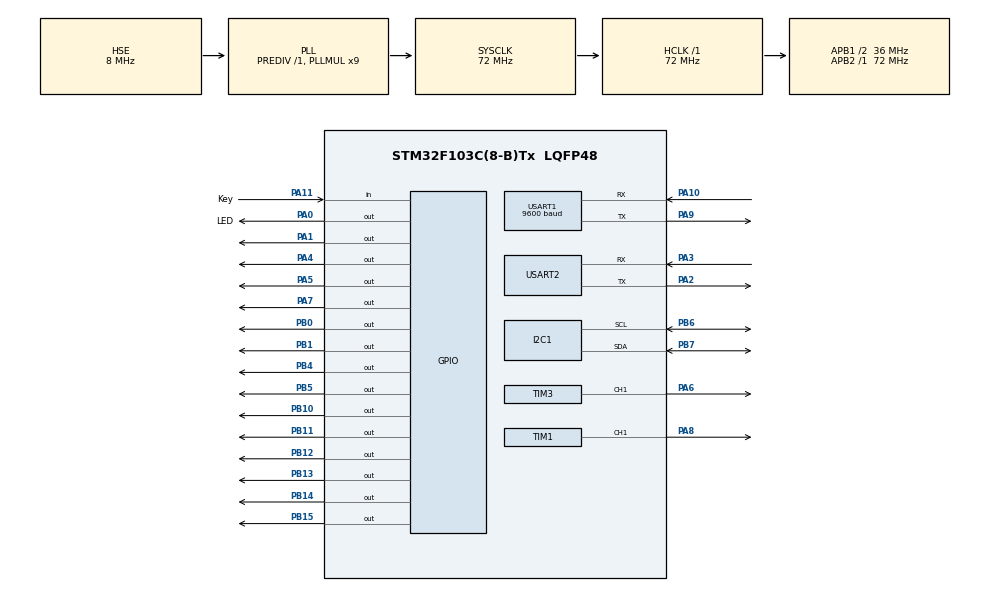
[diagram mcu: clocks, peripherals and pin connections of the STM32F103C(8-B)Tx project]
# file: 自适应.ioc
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Mcu.Family=STM32F1
Mcu.Name=STM32F103C(8-B)Tx
Mcu.Package=LQFP48
NVIC.PriorityGroup=NVIC_PRIORITYGROUP_4
NVIC.USART1_IRQn=true\:0\:0\:false\:false\:true\:true\:true\:true
PA0-WKUP.GPIO_Label=LED
PA0-WKUP.Signal=GPIO_Output
PA1.Signal=GPIO_Output
PA10.Mode=Asynchronous
PA10.Signal=USART1_RX
PA11.GPIO_Label=Key
PA11.GPIO_PuPd=GPIO_PULLDOWN
PA11.Signal=GPIO_Input
PA13.Mode=Serial_Wire
PA13.Signal=SYS_JTMS-SWDIO
PA14.Mode=Serial_Wire
PA14.Signal=SYS_JTCK-SWCLK
PA2.Mode=Asynchronous
PA2.Signal=USART2_TX
PA3.Mode=Asynchronous
PA3.Signal=USART2_RX
PA4.Signal=GPIO_Output
PA5.Signal=GPIO_Output
PA6.Signal=S_TIM3_CH1
PA7.Signal=GPIO_Output
PA8.Signal=S_TIM1_CH1
PA9.Mode=Asynchronous
PA9.Signal=USART1_TX
PB0.Signal=GPIO_Output
PB1.Signal=GPIO_Output
PB10.Signal=GPIO_Output
PB11.Signal=GPIO_Output
PB12.Signal=GPIO_Output
PB13.Signal=GPIO_Output
PB14.Signal=GPIO_Output
PB15.Signal=GPIO_Output
PB4.Signal=GPIO_Output
PB5.Signal=GPIO_Output
PB6.Mode=I2C
PB6.Signal=I2C1_SCL
PB7.Mode=I2C
PB7.Signal=I2C1_SDA
PD0-OSC_IN.Mode=HSE-External-Oscillator
PD0-OSC_IN.Signal=RCC_OSC_IN
PD1-OSC_OUT.Mode=HSE-External-Oscillator
PD1-OSC_OUT.Signal=RCC_OSC_OUT
ProjectManager.HeapSize=0x200
ProjectManager.StackSize=0x400
ProjectManager.TargetToolchain=MDK-ARM V5.32
RCC.AHBFreq_Value=72000000
RCC.APB1CLKDivider=RCC_HCLK_DIV2
RCC.APB1Freq_Value=36000000
RCC.APB1TimFreq_Value=72000000
RCC.APB2Freq_Value=72000000
RCC.APB2TimFreq_Value=72000000
RCC.HCLKFreq_Value=72000000
RCC.PLLMUL=RCC_PLL_MUL9
RCC.PLLSourceVirtual=RCC_PLLSOURCE_HSE
RCC.SYSCLKFreq_VALUE=72000000
RCC.SYSCLKSource=RCC_SYSCLKSOURCE_PLLCLK
RCC.USBFreq_Value=72000000
SH.S_TIM1_CH1.0=TIM1_CH1,PWM Generation1 CH1
SH.S_TIM3_CH1.0=TIM3_CH1,PWM Generation1 CH1
TIM1.Channel-PWM\ Generation1\ CH1=TIM_CHANNEL_1
TIM1.Period=999
TIM1.Prescaler=71
TIM3.Channel-PWM\ Generation1\ CH1=TIM_CHANNEL_1
TIM3.Period=999
TIM3.Prescaler=71
USART1.BaudRate=9600
USART1.VirtualMode=VM_ASYNC
USART2.VirtualMode=VM_ASYNC
board=custom

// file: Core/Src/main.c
/* USER CODE BEGIN Header */
/**
  ******************************************************************************
  * @file           : main.c
  * @brief          : Main program body
  ******************************************************************************
  */
/* USER CODE END Header */
#include "main.h"

/* USER CODE BEGIN Includes */
#include "app.h"
/* USER CODE END Includes */

I2C_HandleTypeDef hi2c1;

TIM_HandleTypeDef htim1;
TIM_HandleTypeDef htim3;

UART_HandleTypeDef huart1;
UART_HandleTypeDef huart2;

void SystemClock_Config(void);
static void MX_GPIO_Init(void);
static void MX_TIM3_Init(void);
static void MX_USART1_UART_Init(void);
static void MX_I2C1_Init(void);
static void MX_USART2_UART_Init(void);
static void MX_TIM1_Init(void);
/* USER CODE BEGIN PFP */
static void Board_I2C1_Reinit(void);
/* USER CODE END PFP */

/* USER CODE BEGIN 0 */
static void Board_I2C1_Reinit(void)
{
  HAL_I2C_DeInit(&hi2c1);
  MX_I2C1_Init();
}
/* USER CODE END 0 */

int main(void)
{

  /* MCU Configuration--------------------------------------------------------*/

  /* Reset of all peripherals, Initializes the Flash interface and the Systick. */
  HAL_Init();

  /* Configure the system clock */
  SystemClock_Config();

  /* Initialize all configured peripherals */
  MX_GPIO_Init();
  MX_TIM3_Init();
  MX_USART1_UART_Init();
  MX_I2C1_Init();
  MX_USART2_UART_Init();
  MX_TIM1_Init();
  /* USER CODE BEGIN 2 */
  AppHardware hardware;

  hardware.oled_i2c = &hi2c1;
  hardware.sensor_uart = &huart1;
  hardware.console_uart = &huart2;
  hardware.motor1_pwm = &htim3;
  hardware.motor2_pwm = &htim1;
  hardware.i2c1_reinit = Board_I2C1_Reinit;
  App_Init(&hardware);
/* USER CODE END 2 */

  /* Infinite loop */
  while (1)
  {

    /* USER CODE BEGIN 3 */
    App_RunOnce();
  }

  /* USER CODE END 3 */
}

void SystemClock_Config(void)
{
  RCC_OscInitTypeDef RCC_OscInitStruct = {0};
  RCC_ClkInitTypeDef RCC_ClkInitStruct = {0};

  /** Initializes the RCC Oscillators according to the specified parameters
  * in the RCC_OscInitTypeDef structure.
  */
  RCC_OscInitStruct.OscillatorType = RCC_OSCILLATORTYPE_HSE;
  RCC_OscInitStruct.HSEState = RCC_HSE_ON;
  RCC_OscInitStruct.HSEPredivValue = RCC_HSE_PREDIV_DIV1;
  RCC_OscInitStruct.HSIState = RCC_HSI_ON;
  RCC_OscInitStruct.PLL.PLLState = RCC_PLL_ON;
  RCC_OscInitStruct.PLL.PLLSource = RCC_PLLSOURCE_HSE;
  RCC_OscInitStruct.PLL.PLLMUL = RCC_PLL_MUL9;
  if (HAL_RCC_OscConfig(&RCC_OscInitStruct) != HAL_OK)
  {
    Error_Handler();
  }

  /** Initializes the CPU, AHB and APB buses clocks
  */
  RCC_ClkInitStruct.ClockType = RCC_CLOCKTYPE_HCLK|RCC_CLOCKTYPE_SYSCLK
                              |RCC_CLOCKTYPE_PCLK1|RCC_CLOCKTYPE_PCLK2;
  RCC_ClkInitStruct.SYSCLKSource = RCC_SYSCLKSOURCE_PLLCLK;
  RCC_ClkInitStruct.AHBCLKDivider = RCC_SYSCLK_DIV1;
  RCC_ClkInitStruct.APB1CLKDivider = RCC_HCLK_DIV2;
  RCC_ClkInitStruct.APB2CLKDivider = RCC_HCLK_DIV1;

  if (HAL_RCC_ClockConfig(&RCC_ClkInitStruct, FLASH_LATENCY_2) != HAL_OK)
  {
    Error_Handler();
  }
}

static void MX_I2C1_Init(void)
{

  hi2c1.Instance = I2C1;
  hi2c1.Init.ClockSpeed = 100000;
  hi2c1.Init.DutyCycle = I2C_DUTYCYCLE_2;
  hi2c1.Init.OwnAddress1 = 0;
  hi2c1.Init.AddressingMode = I2C_ADDRESSINGMODE_7BIT;
  hi2c1.Init.DualAddressMode = I2C_DUALADDRESS_DISABLE;
  hi2c1.Init.OwnAddress2 = 0;
  hi2c1.Init.GeneralCallMode = I2C_GENERALCALL_DISABLE;
  hi2c1.Init.NoStretchMode = I2C_NOSTRETCH_DISABLE;
  if (HAL_I2C_Init(&hi2c1) != HAL_OK)
  {
    Error_Handler();
  }

}

static void MX_TIM1_Init(void)
{

  TIM_MasterConfigTypeDef sMasterConfig = {0};
  TIM_OC_InitTypeDef sConfigOC = {0};
  TIM_BreakDeadTimeConfigTypeDef sBreakDeadTimeConfig = {0};

  htim1.Instance = TIM1;
  htim1.Init.Prescaler = 71;
  htim1.Init.CounterMode = TIM_COUNTERMODE_UP;
  htim1.Init.Period = 999;
  htim1.Init.ClockDivision = TIM_CLOCKDIVISION_DIV1;
  htim1.Init.RepetitionCounter = 0;
  htim1.Init.AutoReloadPreload = TIM_AUTORELOAD_PRELOAD_DISABLE;
  if (HAL_TIM_PWM_Init(&htim1) != HAL_OK)
  {
    Error_Handler();
  }
  sMasterConfig.MasterOutputTrigger = TIM_TRGO_RESET;
  sMasterConfig.MasterSlaveMode = TIM_MASTERSLAVEMODE_DISABLE;
  if (HAL_TIMEx_MasterConfigSynchronization(&htim1, &sMasterConfig) != HAL_OK)
  {
    Error_Handler();
  }
  sConfigOC.OCMode = TIM_OCMODE_PWM1;
  sConfigOC.Pulse = 0;
  sConfigOC.OCPolarity = TIM_OCPOLARITY_HIGH;
  sConfigOC.OCNPolarity = TIM_OCNPOLARITY_HIGH;
  sConfigOC.OCFastMode = TIM_OCFAST_DISABLE;
  sConfigOC.OCIdleState = TIM_OCIDLESTATE_RESET;
  sConfigOC.OCNIdleState = TIM_OCNIDLESTATE_RESET;
  if (HAL_TIM_PWM_ConfigChannel(&htim1, &sConfigOC, TIM_CHANNEL_1) != HAL_OK)
  {
    Error_Handler();
  }
  sBreakDeadTimeConfig.OffStateRunMode = TIM_OSSR_DISABLE;
  sBreakDeadTimeConfig.OffStateIDLEMode = TIM_OSSI_DISABLE;
  sBreakDeadTimeConfig.LockLevel = TIM_LOCKLEVEL_OFF;
  sBreakDeadTimeConfig.DeadTime = 0;
  sBreakDeadTimeConfig.BreakState = TIM_BREAK_DISABLE;
  sBreakDeadTimeConfig.BreakPolarity = TIM_BREAKPOLARITY_HIGH;
  sBreakDeadTimeConfig.AutomaticOutput = TIM_AUTOMATICOUTPUT_DISABLE;
  if (HAL_TIMEx_ConfigBreakDeadTime(&htim1, &sBreakDeadTimeConfig) != HAL_OK)
  {
    Error_Handler();
  }
  HAL_TIM_MspPostInit(&htim1);

}

static void MX_TIM3_Init(void)
{

  TIM_MasterConfigTypeDef sMasterConfig = {0};
  TIM_OC_InitTypeDef sConfigOC = {0};

  htim3.Instance = TIM3;
  htim3.Init.Prescaler = 71;
  htim3.Init.CounterMode = TIM_COUNTERMODE_UP;
  htim3.Init.Period = 999;
  htim3.Init.ClockDivision = TIM_CLOCKDIVISION_DIV1;
  htim3.Init.AutoReloadPreload = TIM_AUTORELOAD_PRELOAD_DISABLE;
  if (HAL_TIM_PWM_Init(&htim3) != HAL_OK)
  {
    Error_Handler();
  }
  sMasterConfig.MasterOutputTrigger = TIM_TRGO_RESET;
  sMasterConfig.MasterSlaveMode = TIM_MASTERSLAVEMODE_DISABLE;
  if (HAL_TIMEx_MasterConfigSynchronization(&htim3, &sMasterConfig) != HAL_OK)
  {
    Error_Handler();
  }
  sConfigOC.OCMode = TIM_OCMODE_PWM1;
  sConfigOC.Pulse = 0;
  sConfigOC.OCPolarity = TIM_OCPOLARITY_HIGH;
  sConfigOC.OCFastMode = TIM_OCFAST_DISABLE;
  if (HAL_TIM_PWM_ConfigChannel(&htim3, &sConfigOC, TIM_CHANNEL_1) != HAL_OK)
  {
    Error_Handler();
  }
  HAL_TIM_MspPostInit(&htim3);

}

static void MX_USART1_UART_Init(void)
{

  huart1.Instance = USART1;
  huart1.Init.BaudRate = 9600;
  huart1.Init.WordLength = UART_WORDLENGTH_8B;
  huart1.Init.StopBits = UART_STOPBITS_1;
  huart1.Init.Parity = UART_PARITY_NONE;
  huart1.Init.Mode = UART_MODE_TX_RX;
  huart1.Init.HwFlowCtl = UART_HWCONTROL_NONE;
  huart1.Init.OverSampling = UART_OVERSAMPLING_16;
  if (HAL_UART_Init(&huart1) != HAL_OK)
  {
    Error_Handler();
  }

}

static void MX_USART2_UART_Init(void)
{

  huart2.Instance = USART2;
  huart2.Init.BaudRate = 115200;
  huart2.Init.WordLength = UART_WORDLENGTH_8B;
  huart2.Init.StopBits = UART_STOPBITS_1;
  huart2.Init.Parity = UART_PARITY_NONE;
  huart2.Init.Mode = UART_MODE_TX_RX;
  huart2.Init.HwFlowCtl = UART_HWCONTROL_NONE;
  huart2.Init.OverSampling = UART_OVERSAMPLING_16;
  if (HAL_UART_Init(&huart2) != HAL_OK)
  {
    Error_Handler();
  }

}

static void MX_GPIO_Init(void)
{
  GPIO_InitTypeDef GPIO_InitStruct = {0};

  /* GPIO Ports Clock Enable */
  __HAL_RCC_GPIOD_CLK_ENABLE();
  __HAL_RCC_GPIOA_CLK_ENABLE();
  __HAL_RCC_GPIOB_CLK_ENABLE();

  /*Configure GPIO pin Output Level */
  HAL_GPIO_WritePin(GPIOA, LED_Pin|GPIO_PIN_1|GPIO_PIN_4|GPIO_PIN_5
                          |GPIO_PIN_7, GPIO_PIN_RESET);

  /*Configure GPIO pin Output Level */
  HAL_GPIO_WritePin(GPIOB, GPIO_PIN_0|GPIO_PIN_1|GPIO_PIN_10|GPIO_PIN_11
                          |GPIO_PIN_12|GPIO_PIN_13|GPIO_PIN_14|GPIO_PIN_15
                          |GPIO_PIN_4|GPIO_PIN_5, GPIO_PIN_RESET);

  /*Configure GPIO pins : LED_Pin PA1 PA4 PA5 PA7 */
  GPIO_InitStruct.Pin = LED_Pin|GPIO_PIN_1|GPIO_PIN_4|GPIO_PIN_5
                          |GPIO_PIN_7;
  GPIO_InitStruct.Mode = GPIO_MODE_OUTPUT_PP;
  GPIO_InitStruct.Pull = GPIO_NOPULL;
  GPIO_InitStruct.Speed = GPIO_SPEED_FREQ_LOW;
  HAL_GPIO_Init(GPIOA, &GPIO_InitStruct);

  /*Configure GPIO pins : PB0 PB1 PB10~PB15 PB4 PB5 */
  GPIO_InitStruct.Pin = GPIO_PIN_0|GPIO_PIN_1|GPIO_PIN_10|GPIO_PIN_11
                          |GPIO_PIN_12|GPIO_PIN_13|GPIO_PIN_14|GPIO_PIN_15
                          |GPIO_PIN_4|GPIO_PIN_5;
  GPIO_InitStruct.Mode = GPIO_MODE_OUTPUT_PP;
  GPIO_InitStruct.Pull = GPIO_NOPULL;
  GPIO_InitStruct.Speed = GPIO_SPEED_FREQ_LOW;
  HAL_GPIO_Init(GPIOB, &GPIO_InitStruct);

  /*Configure GPIO pin : Key_Pin */
  GPIO_InitStruct.Pin = Key_Pin;
  GPIO_InitStruct.Mode = GPIO_MODE_INPUT;
  GPIO_InitStruct.Pull = GPIO_PULLDOWN;
  HAL_GPIO_Init(Key_GPIO_Port, &GPIO_InitStruct);

  /* USER CODE BEGIN MX_GPIO_Init_2 */

  GPIO_InitStruct.Pin = GPIO_PIN_11;
  GPIO_InitStruct.Mode = GPIO_MODE_INPUT;
  GPIO_InitStruct.Pull = GPIO_PULLDOWN;
  HAL_GPIO_Init(GPIOA, &GPIO_InitStruct);

  GPIO_InitStruct.Pin = GPIO_PIN_7;
  GPIO_InitStruct.Mode = GPIO_MODE_OUTPUT_PP;
  GPIO_InitStruct.Pull = GPIO_NOPULL;
  GPIO_InitStruct.Speed = GPIO_SPEED_FREQ_LOW;
  HAL_GPIO_Init(GPIOA, &GPIO_InitStruct);
  GPIO_InitStruct.Pin = GPIO_PIN_10 | GPIO_PIN_11;
  HAL_GPIO_Init(GPIOB, &GPIO_InitStruct);
  /* USER CODE END MX_GPIO_Init_2 */
}

void Error_Handler(void)
{
  __disable_irq();
  while (1)
  {
  }
}
